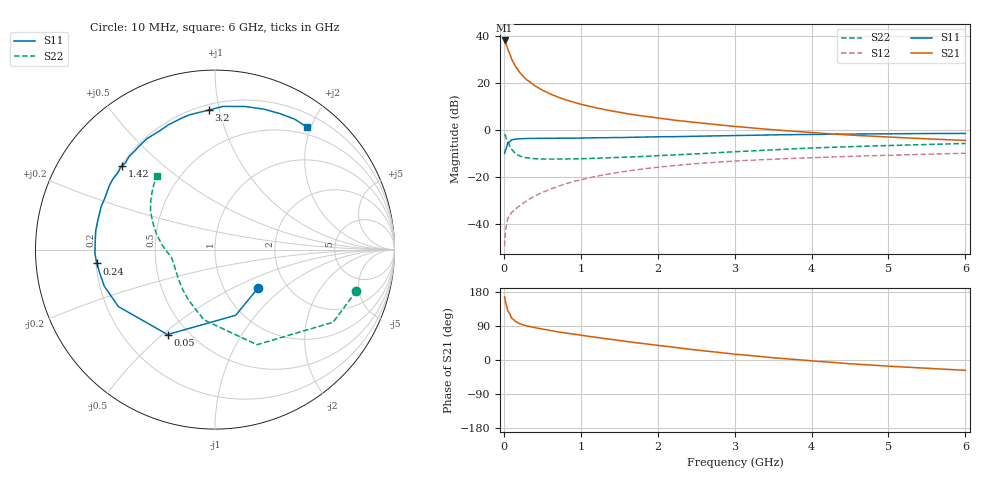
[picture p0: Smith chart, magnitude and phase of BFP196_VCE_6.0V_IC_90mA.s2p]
! Infineon Technologies  Discrete & RF Semiconductors
! BFP196
! VCE = 6.0 V,  IC =  90mA
! Common Emitter S-Parameters:  Jan 2016
# GHz  S  MA  R  50
!  f  S11  S21  S12  S22
! GHz  MAG  ANG  MAG  ANG  MAG  ANG  MAG  ANG
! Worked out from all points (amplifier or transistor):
!   210 points, 10 MHz to 6 GHz, reference 50 ohm
!   highest |S21| = 38.2 dB at 10 MHz (marker M1)
!   |S21| within 3 dB of that: start of sweep to 43.62 MHz
!   unconditionally stable (mu >= 1): 389.6 MHz to 4.869 GHz
!   at 185 MHz: K = 0.79, MSG = 29.1 dB, |S12| = -32.7 dB
!   at 1.52 GHz: K = 1.09, MAG = 10.9 dB, |S12| = -17.8 dB
!   at 6 GHz: K = 0.98, MSG = 2.7 dB, |S12| = -9.8 dB
!   S11 on the Smith chart (normalised r, x): 10 MHz: 1.45, -0.68; 50 MHz: 0.39, -0.52; 240 MHz: 0.20, -0.06; 1.42 GHz: 0.20, +0.37; 3.2 GHz: 0.24, +0.93; 6 GHz: 0.38, +1.94
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0.01  0.3215 -41.3  81.35 166.6  0.0034 81.0  0.8208 -16.3
0.02  0.3835 -72.5  74.67 154.0  0.0068 65.3  0.7724 -31.6
0.05  0.5423 -119.2  54.28 129.5  0.013 55.3  0.5791 -66.2
0.1  0.6251 -149.5  32.82 110.6  0.0177 50.3  0.3967 -98.8
0.15  0.6498 -161.8  22.89 101.7  0.0209 51.5  0.3204 -116.9
0.2  0.6568 -169.3  17.45 96.3  0.0242 55.2  0.2866 -128.7
0.24  0.6621 -173.3  14.68 93.5  0.0271 56.8  0.2709 -135.6
0.26  0.6648 -175.1  13.54 92.1  0.0286 57.7  0.2656 -138.6
0.3  0.6697 -178.3  11.75 89.8  0.0317 60.0  0.2581 -143.3
0.4  0.6689 175.9  8.878 85.4  0.0394 62.9  0.2476 -151.8
0.5  0.6732 171.3  7.11 81.6  0.0471 64.3  0.2433 -157.4
0.6  0.673 166.8  5.926 78.0  0.0553 64.4  0.2421 -161.0
0.7  0.6743 162.6  5.092 74.3  0.0634 64.6  0.2428 -163.8
0.8  0.6787 159.1  4.453 71.3  0.072 63.8  0.2442 -166.1
1.02  0.6834 150.9  3.51 64.8  0.0895 61.9  0.2478 -170.1
1.42  0.698 138.0  2.535 53.8  0.1211 56.9  0.2599 -175.2
2.02  0.7252 120.9  1.794 38.3  0.164 47.9  0.2875 177.0
3.1  0.7734 94.5  1.166 13.7  0.2247 31.7  0.3542 161.2
3.2  0.7785 92.5  1.128 11.9  0.2288 30.2  0.3611 159.7
4.1  0.8162 76.7  0.867 -3.8  0.2636 18.8  0.4244 147.8
5.1  0.8411 63.3  0.703 -17.4  0.2962 7.7  0.4769 137.2
6  0.8536 53.2  0.607 -27.3  0.3235 -2.3  0.5221 128.2
